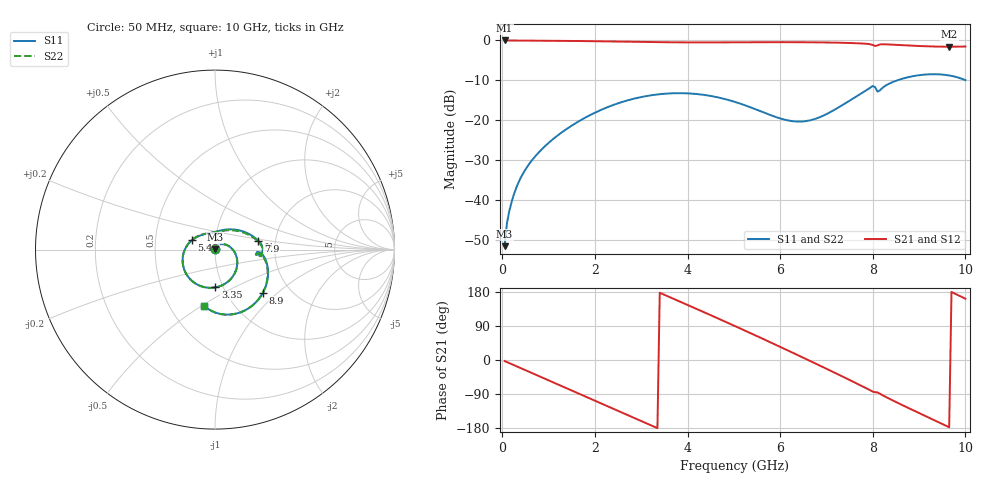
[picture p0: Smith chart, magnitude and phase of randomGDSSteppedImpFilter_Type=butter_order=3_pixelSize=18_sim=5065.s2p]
! freq	dB(S11)	phase(S11)	dB(S12)	phase(S12)
!  dB(S21)	phase(S21)	dB(S22)	phase(S22)
!S-par simulation data
#  GHz  S  DB  R 50
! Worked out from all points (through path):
!   200 points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, 50 MHz to 10 GHz, reference 50 ohm
!   highest |S21| = 0.00 dB at 50 MHz (marker M1); lowest = -1.6 dB at 9.65 GHz (marker M2)
!   group delay of S21, straight-line fit = 155 ps
!   lowest |S11| = -51.6 dB at 50 MHz (marker M3), VSWR 1.01, Z = 50 + j0.262 ohm
!   |S11| at or under -10 dB: start of sweep to 8.528 GHz
!   |S22| runs from -51.7 to -8.5 dB; largest |S21 - S12| = 0
!   S11 on the Smith chart (normalised r, x): 50 MHz: 1.00, +0.01; 3.35 GHz: 0.92, -0.41; 5.45 GHz: 0.77, +0.08; 7.9 GHz: 1.62, +0.17; 8.9 GHz: 1.46, -0.81; 10 GHz: 0.73, -0.51
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0.05  -51.56 82.7  -0.00 -2.7  -0.00 -2.7  -51.66 83.5
0.1  -45.83 78.5  -0.01 -5.4  -0.01 -5.4  -45.79 79.0
0.2  -40.52 75.1  -0.02 -10.8  -0.02 -10.8  -40.53 75.5
0.5  -32.35 62.1  -0.04 -26.9  -0.04 -26.9  -32.34 62.4
1.15  -24.22 28.0  -0.09 -61.8  -0.09 -61.8  -24.22 28.5
1.75  -19.61 -3.8  -0.16 -94.0  -0.16 -94.0  -19.61 -3.3
2.2  -17.07 -27.9  -0.23 -118.2  -0.23 -118.2  -17.07 -27.4
2.65  -15.20 -52.0  -0.31 -142.4  -0.31 -142.4  -15.20 -51.6
3.35  -13.53 -89.3  -0.43 -179.8  -0.43 -179.8  -13.53 -89.0
3.4  -13.47 -91.9  -0.44 177.5  -0.44 177.5  -13.47 -91.6
3.85  -13.22 -115.8  -0.48 153.4  -0.48 153.4  -13.22 -115.6
4.3  -13.56 -139.6  -0.50 129.2  -0.50 129.2  -13.56 -139.7
5.05  -15.50 180.0  -0.47 88.1  -0.47 88.1  -15.51 179.2
5.45  -17.16 157.9  -0.44 65.8  -0.44 65.8  -17.18 156.3
6.1  -19.87 120.7  -0.43 29.0  -0.43 29.0  -19.88 117.3
6.7  -19.86 84.8  -0.47 -5.6  -0.47 -5.6  -19.86 80.5
7.25  -16.86 51.9  -0.56 -37.9  -0.56 -37.9  -16.85 48.6
7.9  -12.17 11.8  -0.88 -77.1  -0.88 -77.1  -12.16 10.0
8.35  -10.85 -11.1  -1.01 -101.8  -1.01 -101.8  -10.85 -12.3
8.9  -8.89 -42.0  -1.34 -134.2  -1.34 -134.2  -8.89 -42.5
9.65  -8.78 -82.7  -1.57 -177.5  -1.57 -177.5  -8.76 -82.5
10  -9.96 -101.3  -1.52 161.6  -1.52 161.6  -9.93 -100.7
